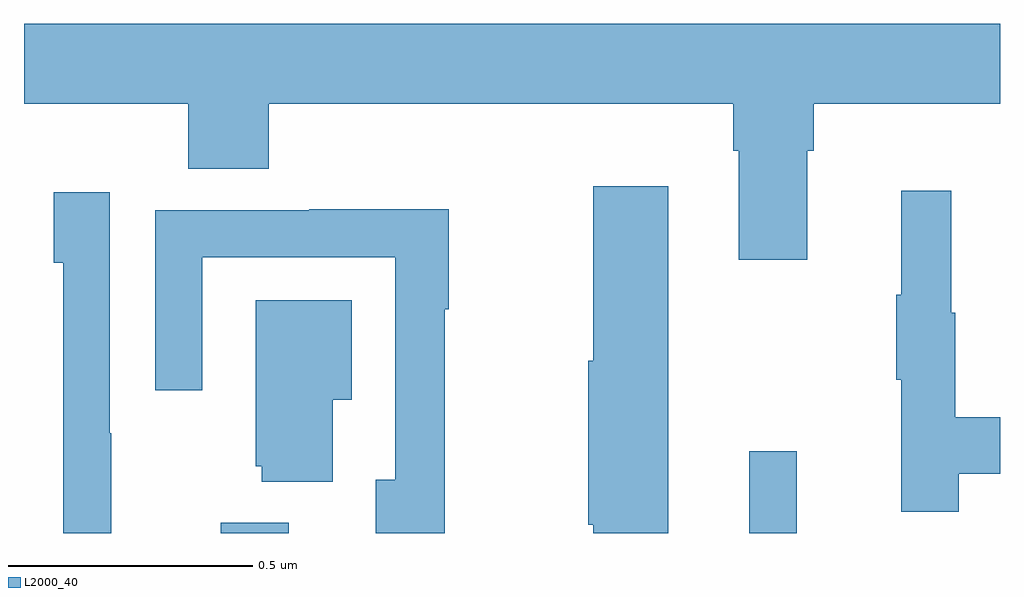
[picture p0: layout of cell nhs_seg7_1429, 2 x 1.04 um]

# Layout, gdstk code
import gdstk
lib = gdstk.Library(unit=1e-6, precision=1e-09)
def R(c, l, rs):  # rectangles x0, y0, x1, y1
    for r in rs: c.add(gdstk.rectangle(r[:2], r[2:], *l))
def P(c, l, *ps):  # polygons
    for p in ps: c.add(gdstk.Polygon(p, *l))
L2000_40 = (2000, 40)

nhs_seg7_1429 = lib.new_cell('nhs_seg7_1429')
R(nhs_seg7_1429, L2000_40, [(130.403,1069,130.543,1069.021), (131.486,1069,131.583,1069.168)])
P(nhs_seg7_1429, L2000_40, [(131.605,1069.784),(131.618,1069.784),(131.618,1069.88),(132,1069.88),(132,1070.044),(130,1070.044),(130,1069.88),(130.337,1069.88),(130.337,1069.747),(130.502,1069.747),(130.502,1069.88),(131.453,1069.88),(131.453,1069.784),(131.465,1069.784),(131.465,1069.56),(131.605,1069.56)],
  [(131.32,1069.711),(131.167,1069.711),(131.167,1069.353),(131.156,1069.353),(131.156,1069.017),(131.167,1069.017),(131.167,1069),(131.32,1069)],
  [(131.915,1069.122),(132,1069.122),(132,1069.238),(131.908,1069.238),(131.908,1069.452),(131.9,1069.452),(131.9,1069.702),(131.798,1069.702),(131.798,1069.489),(131.787,1069.489),(131.787,1069.315),(131.798,1069.315),(131.798,1069.044),(131.915,1069.044)],
  [(130.179,1069.205),(130.176,1069.205),(130.176,1069.699),(130.061,1069.699),(130.061,1069.554),(130.08,1069.554),(130.08,1069),(130.179,1069)],
  [(130.862,1069.459),(130.87,1069.459),(130.87,1069.664),(130.585,1069.664),(130.585,1069.662),(130.269,1069.662),(130.269,1069.293),(130.365,1069.293),(130.365,1069.566),(130.761,1069.566),(130.761,1069.11),(130.721,1069.11),(130.721,1069),(130.862,1069)],
  [(130.633,1069.274),(130.672,1069.274),(130.672,1069.477),(130.475,1069.477),(130.475,1069.137),(130.487,1069.137),(130.487,1069.106),(130.633,1069.106)])

lib.write_gds('nhs_seg7_1429.gds')
